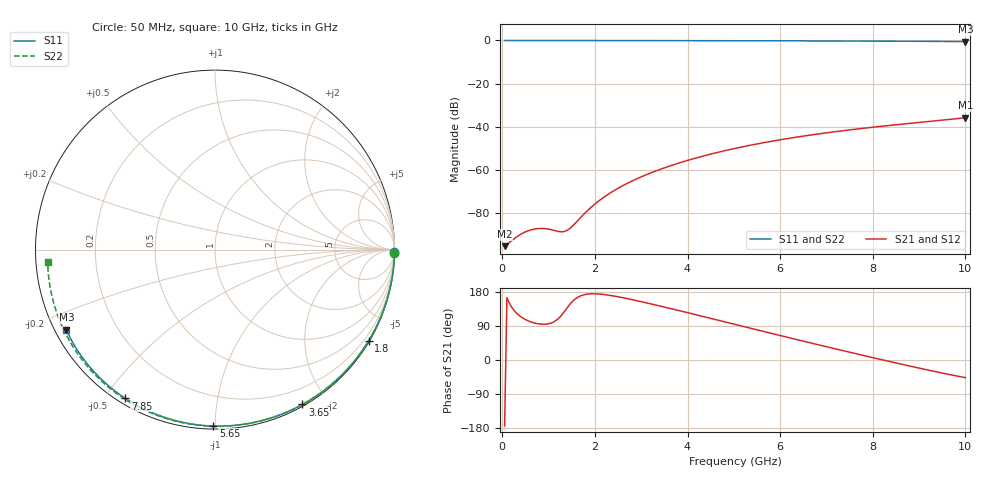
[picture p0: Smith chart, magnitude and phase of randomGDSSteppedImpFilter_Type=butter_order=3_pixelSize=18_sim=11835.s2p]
! freq	dB(S11)	phase(S11)	dB(S12)	phase(S12)
!  dB(S21)	phase(S21)	dB(S22)	phase(S22)
!S-par simulation data
#  GHz  S  DB  R 50
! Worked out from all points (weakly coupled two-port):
!   200 points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, 50 MHz to 10 GHz, reference 50 ohm
!   highest |S21| = -35.80 dB at 10 GHz (marker M1); lowest = -95.2 dB at 50 MHz (marker M2)
!   lowest |S11| = -0.5 dB at 10 GHz (marker M3), VSWR 32.59, Z = 1.63 - j12.6 ohm
!   |S11| at or under -10 dB: nowhere
!   |S22| runs from -0.6 to 0.0 dB; largest |S21 - S12| = 0
!   S11 on the Smith chart (normalised r, x): 50 MHz: open; 1.8 GHz: 0.03, -3.65; 3.65 GHz: 0.02, -1.71; 5.65 GHz: 0.02, -0.99; 7.85 GHz: 0.02, -0.56; 10 GHz: 0.03, -0.25
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0.05  -0.00 -0.9  -95.22 -174.0  -95.22 -174.0  -0.00 -1.0
0.45  -0.01 -7.8  -89.11 110.2  -89.11 110.2  -0.01 -8.9
0.85  -0.02 -14.6  -87.03 94.5  -87.03 94.5  -0.02 -16.7
1.3  -0.03 -22.3  -88.56 121.2  -88.56 121.2  -0.03 -25.5
1.75  -0.04 -29.8  -80.64 171.7  -80.64 171.7  -0.04 -34.2
1.8  -0.04 -30.7  -79.57 173.1  -79.57 173.1  -0.04 -35.1
1.95  -0.04 -33.2  -76.61 174.8  -76.61 174.8  -0.05 -38.0
2.1  -0.05 -35.6  -74.01 174.0  -74.01 174.0  -0.05 -40.8
2.45  -0.05 -41.4  -69.04 168.0  -69.04 168.0  -0.06 -47.4
2.9  -0.06 -48.7  -64.08 156.7  -64.08 156.7  -0.07 -55.7
3.4  -0.07 -56.7  -59.73 142.6  -59.73 142.6  -0.09 -64.8
3.65  -0.08 -60.6  -57.86 135.3  -57.86 135.3  -0.09 -69.2
4.35  -0.10 -71.3  -53.43 114.4  -53.43 114.4  -0.12 -81.5
5.05  -0.13 -81.8  -49.85 93.2  -49.85 93.2  -0.14 -93.4
5.65  -0.15 -90.5  -47.29 75.1  -47.29 75.1  -0.17 -103.5
6.15  -0.17 -97.6  -45.44 60.1  -45.44 60.1  -0.20 -111.7
6.7  -0.20 -105.3  -43.65 43.8  -43.65 43.8  -0.24 -120.6
7.25  -0.24 -112.9  -42.06 27.7  -42.06 27.7  -0.28 -129.5
7.85  -0.28 -121.1  -40.52 10.5  -40.52 10.5  -0.33 -139.3
8.35  -0.33 -127.9  -39.36 -3.6  -39.36 -3.6  -0.38 -147.5
9.2  -0.41 -139.6  -37.55 -26.7  -37.55 -26.7  -0.48 -161.7
10  -0.53 -151.7  -35.80 -46.6  -35.80 -46.6  -0.58 -175.8
